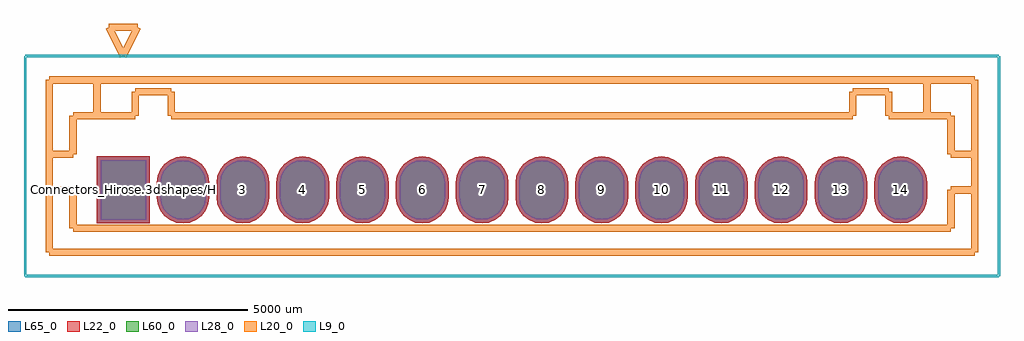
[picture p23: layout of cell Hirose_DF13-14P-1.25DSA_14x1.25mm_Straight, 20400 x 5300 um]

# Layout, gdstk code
import gdstk
lib = gdstk.Library(unit=1e-6, precision=1e-09)
def R(c, l, rs):  # rectangles x0, y0, x1, y1
    for r in rs: c.add(gdstk.rectangle(r[:2], r[2:], *l))
def P(c, l, *ps):  # polygons
    for p in ps: c.add(gdstk.Polygon(p, *l))
L9_0 = (9, 0)
L20_0 = (20, 0)
L22_0 = (22, 0)
L28_0 = (28, 0)
L60_0 = (60, 0)
L65_0 = (65, 0)

hirose_df13_14p_1_25dsa_ = lib.new_cell('Hirose_DF13-14P-1.25DSA_14x1.25mm_Straight')
R(hirose_df13_14p_1_25dsa_, L22_0, [(-550,-700,550,700)])
P(hirose_df13_14p_1_25dsa_, L22_0, [(16250,-700),(16392.35,-681.259),(16525,-626.314),(16638.909,-538.909),(16726.314,-425),(16781.259,-292.35),(16800,-150),(16800,150),(16781.259,292.35),(16726.314,425),(16638.909,538.909),(16525,626.314),(16392.35,681.259),(16250,700),(16107.65,681.259),(15975,626.314),(15861.091,538.909),(15773.686,425),(15718.741,292.35),(15700,150),(15700,-150),(15718.741,-292.35),(15773.686,-425),(15861.091,-538.909),(15975,-626.314),(16107.65,-681.259)],
  [(15000,-700),(15142.35,-681.259),(15275,-626.314),(15388.909,-538.909),(15476.314,-425),(15531.259,-292.35),(15550,-150),(15550,150),(15531.259,292.35),(15476.314,425),(15388.909,538.909),(15275,626.314),(15142.35,681.259),(15000,700),(14857.65,681.259),(14725,626.314),(14611.091,538.909),(14523.686,425),(14468.741,292.35),(14450,150),(14450,-150),(14468.741,-292.35),(14523.686,-425),(14611.091,-538.909),(14725,-626.314),(14857.65,-681.259)],
  [(13750,-700),(13892.35,-681.259),(14025,-626.314),(14138.909,-538.909),(14226.314,-425),(14281.259,-292.35),(14300,-150),(14300,150),(14281.259,292.35),(14226.314,425),(14138.909,538.909),(14025,626.314),(13892.35,681.259),(13750,700),(13607.65,681.259),(13475,626.314),(13361.091,538.909),(13273.686,425),(13218.741,292.35),(13200,150),(13200,-150),(13218.741,-292.35),(13273.686,-425),(13361.091,-538.909),(13475,-626.314),(13607.65,-681.259)],
  [(12500,-700),(12642.35,-681.259),(12775,-626.314),(12888.909,-538.909),(12976.314,-425),(13031.259,-292.35),(13050,-150),(13050,150),(13031.259,292.35),(12976.314,425),(12888.909,538.909),(12775,626.314),(12642.35,681.259),(12500,700),(12357.65,681.259),(12225,626.314),(12111.091,538.909),(12023.686,425),(11968.741,292.35),(11950,150),(11950,-150),(11968.741,-292.35),(12023.686,-425),(12111.091,-538.909),(12225,-626.314),(12357.65,-681.259)],
  [(11250,-700),(11392.35,-681.259),(11525,-626.314),(11638.909,-538.909),(11726.314,-425),(11781.259,-292.35),(11800,-150),(11800,150),(11781.259,292.35),(11726.314,425),(11638.909,538.909),(11525,626.314),(11392.35,681.259),(11250,700),(11107.65,681.259),(10975,626.314),(10861.091,538.909),(10773.686,425),(10718.741,292.35),(10700,150),(10700,-150),(10718.741,-292.35),(10773.686,-425),(10861.091,-538.909),(10975,-626.314),(11107.65,-681.259)],
  [(10000,-700),(10142.35,-681.259),(10275,-626.314),(10388.909,-538.909),(10476.314,-425),(10531.259,-292.35),(10550,-150),(10550,150),(10531.259,292.35),(10476.314,425),(10388.909,538.909),(10275,626.314),(10142.35,681.259),(10000,700),(9857.65,681.259),(9725,626.314),(9611.091,538.909),(9523.686,425),(9468.741,292.35),(9450,150),(9450,-150),(9468.741,-292.35),(9523.686,-425),(9611.091,-538.909),(9725,-626.314),(9857.65,-681.259)],
  [(8750,-700),(8892.35,-681.259),(9025,-626.314),(9138.909,-538.909),(9226.314,-425),(9281.259,-292.35),(9300,-150),(9300,150),(9281.259,292.35),(9226.314,425),(9138.909,538.909),(9025,626.314),(8892.35,681.259),(8750,700),(8607.65,681.259),(8475,626.314),(8361.091,538.909),(8273.686,425),(8218.741,292.35),(8200,150),(8200,-150),(8218.741,-292.35),(8273.686,-425),(8361.091,-538.909),(8475,-626.314),(8607.65,-681.259)],
  [(7500,-700),(7642.35,-681.259),(7775,-626.314),(7888.909,-538.909),(7976.314,-425),(8031.259,-292.35),(8050,-150),(8050,150),(8031.259,292.35),(7976.314,425),(7888.909,538.909),(7775,626.314),(7642.35,681.259),(7500,700),(7357.65,681.259),(7225,626.314),(7111.091,538.909),(7023.686,425),(6968.741,292.35),(6950,150),(6950,-150),(6968.741,-292.35),(7023.686,-425),(7111.091,-538.909),(7225,-626.314),(7357.65,-681.259)],
  [(6250,-700),(6392.35,-681.259),(6525,-626.314),(6638.909,-538.909),(6726.314,-425),(6781.259,-292.35),(6800,-150),(6800,150),(6781.259,292.35),(6726.314,425),(6638.909,538.909),(6525,626.314),(6392.35,681.259),(6250,700),(6107.65,681.259),(5975,626.314),(5861.091,538.909),(5773.686,425),(5718.741,292.35),(5700,150),(5700,-150),(5718.741,-292.35),(5773.686,-425),(5861.091,-538.909),(5975,-626.314),(6107.65,-681.259)],
  [(5000,-700),(5142.35,-681.259),(5275,-626.314),(5388.909,-538.909),(5476.314,-425),(5531.259,-292.35),(5550,-150),(5550,150),(5531.259,292.35),(5476.314,425),(5388.909,538.909),(5275,626.314),(5142.35,681.259),(5000,700),(4857.65,681.259),(4725,626.314),(4611.091,538.909),(4523.686,425),(4468.741,292.35),(4450,150),(4450,-150),(4468.741,-292.35),(4523.686,-425),(4611.091,-538.909),(4725,-626.314),(4857.65,-681.259)],
  [(3750,-700),(3892.35,-681.259),(4025,-626.314),(4138.909,-538.909),(4226.314,-425),(4281.259,-292.35),(4300,-150),(4300,150),(4281.259,292.35),(4226.314,425),(4138.909,538.909),(4025,626.314),(3892.35,681.259),(3750,700),(3607.65,681.259),(3475,626.314),(3361.091,538.909),(3273.686,425),(3218.741,292.35),(3200,150),(3200,-150),(3218.741,-292.35),(3273.686,-425),(3361.091,-538.909),(3475,-626.314),(3607.65,-681.259)],
  [(2500,-700),(2642.35,-681.259),(2775,-626.314),(2888.909,-538.909),(2976.314,-425),(3031.259,-292.35),(3050,-150),(3050,150),(3031.259,292.35),(2976.314,425),(2888.909,538.909),(2775,626.314),(2642.35,681.259),(2500,700),(2357.65,681.259),(2225,626.314),(2111.091,538.909),(2023.686,425),(1968.741,292.35),(1950,150),(1950,-150),(1968.741,-292.35),(2023.686,-425),(2111.091,-538.909),(2225,-626.314),(2357.65,-681.259)],
  [(1250,-700),(1392.35,-681.259),(1525,-626.314),(1638.909,-538.909),(1726.314,-425),(1781.259,-292.35),(1800,-150),(1800,150),(1781.259,292.35),(1726.314,425),(1638.909,538.909),(1525,626.314),(1392.35,681.259),(1250,700),(1107.65,681.259),(975,626.314),(861.091,538.909),(773.686,425),(718.741,292.35),(700,150),(700,-150),(718.741,-292.35),(773.686,-425),(861.091,-538.909),(975,-626.314),(1107.65,-681.259)])
R(hirose_df13_14p_1_25dsa_, L28_0, [(-475,-625,475,625)])
P(hirose_df13_14p_1_25dsa_, L28_0, [(16250,-625),(16372.939,-608.815),(16487.5,-561.362),(16585.876,-485.876),(16661.362,-387.5),(16708.815,-272.939),(16725,-150),(16725,150),(16708.815,272.939),(16661.362,387.5),(16585.876,485.876),(16487.5,561.362),(16372.939,608.815),(16250,625),(16127.061,608.815),(16012.5,561.362),(15914.124,485.876),(15838.638,387.5),(15791.185,272.939),(15775,150),(15775,-150),(15791.185,-272.939),(15838.638,-387.5),(15914.124,-485.876),(16012.5,-561.362),(16127.061,-608.815)],
  [(15000,-625),(15122.939,-608.815),(15237.5,-561.362),(15335.876,-485.876),(15411.362,-387.5),(15458.815,-272.939),(15475,-150),(15475,150),(15458.815,272.939),(15411.362,387.5),(15335.876,485.876),(15237.5,561.362),(15122.939,608.815),(15000,625),(14877.061,608.815),(14762.5,561.362),(14664.124,485.876),(14588.638,387.5),(14541.185,272.939),(14525,150),(14525,-150),(14541.185,-272.939),(14588.638,-387.5),(14664.124,-485.876),(14762.5,-561.362),(14877.061,-608.815)],
  [(13750,-625),(13872.939,-608.815),(13987.5,-561.362),(14085.876,-485.876),(14161.362,-387.5),(14208.815,-272.939),(14225,-150),(14225,150),(14208.815,272.939),(14161.362,387.5),(14085.876,485.876),(13987.5,561.362),(13872.939,608.815),(13750,625),(13627.061,608.815),(13512.5,561.362),(13414.124,485.876),(13338.638,387.5),(13291.185,272.939),(13275,150),(13275,-150),(13291.185,-272.939),(13338.638,-387.5),(13414.124,-485.876),(13512.5,-561.362),(13627.061,-608.815)],
  [(12500,-625),(12622.939,-608.815),(12737.5,-561.362),(12835.876,-485.876),(12911.362,-387.5),(12958.815,-272.939),(12975,-150),(12975,150),(12958.815,272.939),(12911.362,387.5),(12835.876,485.876),(12737.5,561.362),(12622.939,608.815),(12500,625),(12377.061,608.815),(12262.5,561.362),(12164.124,485.876),(12088.638,387.5),(12041.185,272.939),(12025,150),(12025,-150),(12041.185,-272.939),(12088.638,-387.5),(12164.124,-485.876),(12262.5,-561.362),(12377.061,-608.815)],
  [(11250,-625),(11372.939,-608.815),(11487.5,-561.362),(11585.876,-485.876),(11661.362,-387.5),(11708.815,-272.939),(11725,-150),(11725,150),(11708.815,272.939),(11661.362,387.5),(11585.876,485.876),(11487.5,561.362),(11372.939,608.815),(11250,625),(11127.061,608.815),(11012.5,561.362),(10914.124,485.876),(10838.638,387.5),(10791.185,272.939),(10775,150),(10775,-150),(10791.185,-272.939),(10838.638,-387.5),(10914.124,-485.876),(11012.5,-561.362),(11127.061,-608.815)],
  [(10000,-625),(10122.939,-608.815),(10237.5,-561.362),(10335.876,-485.876),(10411.362,-387.5),(10458.815,-272.939),(10475,-150),(10475,150),(10458.815,272.939),(10411.362,387.5),(10335.876,485.876),(10237.5,561.362),(10122.939,608.815),(10000,625),(9877.061,608.815),(9762.5,561.362),(9664.124,485.876),(9588.638,387.5),(9541.185,272.939),(9525,150),(9525,-150),(9541.185,-272.939),(9588.638,-387.5),(9664.124,-485.876),(9762.5,-561.362),(9877.061,-608.815)],
  [(8750,-625),(8872.939,-608.815),(8987.5,-561.362),(9085.876,-485.876),(9161.362,-387.5),(9208.815,-272.939),(9225,-150),(9225,150),(9208.815,272.939),(9161.362,387.5),(9085.876,485.876),(8987.5,561.362),(8872.939,608.815),(8750,625),(8627.061,608.815),(8512.5,561.362),(8414.124,485.876),(8338.638,387.5),(8291.185,272.939),(8275,150),(8275,-150),(8291.185,-272.939),(8338.638,-387.5),(8414.124,-485.876),(8512.5,-561.362),(8627.061,-608.815)],
  [(7500,-625),(7622.939,-608.815),(7737.5,-561.362),(7835.876,-485.876),(7911.362,-387.5),(7958.815,-272.939),(7975,-150),(7975,150),(7958.815,272.939),(7911.362,387.5),(7835.876,485.876),(7737.5,561.362),(7622.939,608.815),(7500,625),(7377.061,608.815),(7262.5,561.362),(7164.124,485.876),(7088.638,387.5),(7041.185,272.939),(7025,150),(7025,-150),(7041.185,-272.939),(7088.638,-387.5),(7164.124,-485.876),(7262.5,-561.362),(7377.061,-608.815)],
  [(6250,-625),(6372.939,-608.815),(6487.5,-561.362),(6585.876,-485.876),(6661.362,-387.5),(6708.815,-272.939),(6725,-150),(6725,150),(6708.815,272.939),(6661.362,387.5),(6585.876,485.876),(6487.5,561.362),(6372.939,608.815),(6250,625),(6127.061,608.815),(6012.5,561.362),(5914.124,485.876),(5838.638,387.5),(5791.185,272.939),(5775,150),(5775,-150),(5791.185,-272.939),(5838.638,-387.5),(5914.124,-485.876),(6012.5,-561.362),(6127.061,-608.815)],
  [(5000,-625),(5122.939,-608.815),(5237.5,-561.362),(5335.876,-485.876),(5411.362,-387.5),(5458.815,-272.939),(5475,-150),(5475,150),(5458.815,272.939),(5411.362,387.5),(5335.876,485.876),(5237.5,561.362),(5122.939,608.815),(5000,625),(4877.061,608.815),(4762.5,561.362),(4664.124,485.876),(4588.638,387.5),(4541.185,272.939),(4525,150),(4525,-150),(4541.185,-272.939),(4588.638,-387.5),(4664.124,-485.876),(4762.5,-561.362),(4877.061,-608.815)],
  [(3750,-625),(3872.939,-608.815),(3987.5,-561.362),(4085.876,-485.876),(4161.362,-387.5),(4208.815,-272.939),(4225,-150),(4225,150),(4208.815,272.939),(4161.362,387.5),(4085.876,485.876),(3987.5,561.362),(3872.939,608.815),(3750,625),(3627.061,608.815),(3512.5,561.362),(3414.124,485.876),(3338.638,387.5),(3291.185,272.939),(3275,150),(3275,-150),(3291.185,-272.939),(3338.638,-387.5),(3414.124,-485.876),(3512.5,-561.362),(3627.061,-608.815)],
  [(2500,-625),(2622.939,-608.815),(2737.5,-561.362),(2835.876,-485.876),(2911.362,-387.5),(2958.815,-272.939),(2975,-150),(2975,150),(2958.815,272.939),(2911.362,387.5),(2835.876,485.876),(2737.5,561.362),(2622.939,608.815),(2500,625),(2377.061,608.815),(2262.5,561.362),(2164.124,485.876),(2088.638,387.5),(2041.185,272.939),(2025,150),(2025,-150),(2041.185,-272.939),(2088.638,-387.5),(2164.124,-485.876),(2262.5,-561.362),(2377.061,-608.815)],
  [(1250,-625),(1372.939,-608.815),(1487.5,-561.362),(1585.876,-485.876),(1661.362,-387.5),(1708.815,-272.939),(1725,-150),(1725,150),(1708.815,272.939),(1661.362,387.5),(1585.876,485.876),(1487.5,561.362),(1372.939,608.815),(1250,625),(1127.061,608.815),(1012.5,561.362),(914.124,485.876),(838.638,387.5),(791.185,272.939),(775,150),(775,-150),(791.185,-272.939),(838.638,-387.5),(914.124,-485.876),(1012.5,-561.362),(1127.061,-608.815)])
R(hirose_df13_14p_1_25dsa_, L60_0, [(-475,-625,475,625)])
P(hirose_df13_14p_1_25dsa_, L60_0, [(16250,-625),(16372.939,-608.815),(16487.5,-561.362),(16585.876,-485.876),(16661.362,-387.5),(16708.815,-272.939),(16725,-150),(16725,150),(16708.815,272.939),(16661.362,387.5),(16585.876,485.876),(16487.5,561.362),(16372.939,608.815),(16250,625),(16127.061,608.815),(16012.5,561.362),(15914.124,485.876),(15838.638,387.5),(15791.185,272.939),(15775,150),(15775,-150),(15791.185,-272.939),(15838.638,-387.5),(15914.124,-485.876),(16012.5,-561.362),(16127.061,-608.815)],
  [(15000,-625),(15122.939,-608.815),(15237.5,-561.362),(15335.876,-485.876),(15411.362,-387.5),(15458.815,-272.939),(15475,-150),(15475,150),(15458.815,272.939),(15411.362,387.5),(15335.876,485.876),(15237.5,561.362),(15122.939,608.815),(15000,625),(14877.061,608.815),(14762.5,561.362),(14664.124,485.876),(14588.638,387.5),(14541.185,272.939),(14525,150),(14525,-150),(14541.185,-272.939),(14588.638,-387.5),(14664.124,-485.876),(14762.5,-561.362),(14877.061,-608.815)],
  [(13750,-625),(13872.939,-608.815),(13987.5,-561.362),(14085.876,-485.876),(14161.362,-387.5),(14208.815,-272.939),(14225,-150),(14225,150),(14208.815,272.939),(14161.362,387.5),(14085.876,485.876),(13987.5,561.362),(13872.939,608.815),(13750,625),(13627.061,608.815),(13512.5,561.362),(13414.124,485.876),(13338.638,387.5),(13291.185,272.939),(13275,150),(13275,-150),(13291.185,-272.939),(13338.638,-387.5),(13414.124,-485.876),(13512.5,-561.362),(13627.061,-608.815)],
  [(12500,-625),(12622.939,-608.815),(12737.5,-561.362),(12835.876,-485.876),(12911.362,-387.5),(12958.815,-272.939),(12975,-150),(12975,150),(12958.815,272.939),(12911.362,387.5),(12835.876,485.876),(12737.5,561.362),(12622.939,608.815),(12500,625),(12377.061,608.815),(12262.5,561.362),(12164.124,485.876),(12088.638,387.5),(12041.185,272.939),(12025,150),(12025,-150),(12041.185,-272.939),(12088.638,-387.5),(12164.124,-485.876),(12262.5,-561.362),(12377.061,-608.815)],
  [(11250,-625),(11372.939,-608.815),(11487.5,-561.362),(11585.876,-485.876),(11661.362,-387.5),(11708.815,-272.939),(11725,-150),(11725,150),(11708.815,272.939),(11661.362,387.5),(11585.876,485.876),(11487.5,561.362),(11372.939,608.815),(11250,625),(11127.061,608.815),(11012.5,561.362),(10914.124,485.876),(10838.638,387.5),(10791.185,272.939),(10775,150),(10775,-150),(10791.185,-272.939),(10838.638,-387.5),(10914.124,-485.876),(11012.5,-561.362),(11127.061,-608.815)],
  [(10000,-625),(10122.939,-608.815),(10237.5,-561.362),(10335.876,-485.876),(10411.362,-387.5),(10458.815,-272.939),(10475,-150),(10475,150),(10458.815,272.939),(10411.362,387.5),(10335.876,485.876),(10237.5,561.362),(10122.939,608.815),(10000,625),(9877.061,608.815),(9762.5,561.362),(9664.124,485.876),(9588.638,387.5),(9541.185,272.939),(9525,150),(9525,-150),(9541.185,-272.939),(9588.638,-387.5),(9664.124,-485.876),(9762.5,-561.362),(9877.061,-608.815)],
  [(8750,-625),(8872.939,-608.815),(8987.5,-561.362),(9085.876,-485.876),(9161.362,-387.5),(9208.815,-272.939),(9225,-150),(9225,150),(9208.815,272.939),(9161.362,387.5),(9085.876,485.876),(8987.5,561.362),(8872.939,608.815),(8750,625),(8627.061,608.815),(8512.5,561.362),(8414.124,485.876),(8338.638,387.5),(8291.185,272.939),(8275,150),(8275,-150),(8291.185,-272.939),(8338.638,-387.5),(8414.124,-485.876),(8512.5,-561.362),(8627.061,-608.815)],
  [(7500,-625),(7622.939,-608.815),(7737.5,-561.362),(7835.876,-485.876),(7911.362,-387.5),(7958.815,-272.939),(7975,-150),(7975,150),(7958.815,272.939),(7911.362,387.5),(7835.876,485.876),(7737.5,561.362),(7622.939,608.815),(7500,625),(7377.061,608.815),(7262.5,561.362),(7164.124,485.876),(7088.638,387.5),(7041.185,272.939),(7025,150),(7025,-150),(7041.185,-272.939),(7088.638,-387.5),(7164.124,-485.876),(7262.5,-561.362),(7377.061,-608.815)],
  [(6250,-625),(6372.939,-608.815),(6487.5,-561.362),(6585.876,-485.876),(6661.362,-387.5),(6708.815,-272.939),(6725,-150),(6725,150),(6708.815,272.939),(6661.362,387.5),(6585.876,485.876),(6487.5,561.362),(6372.939,608.815),(6250,625),(6127.061,608.815),(6012.5,561.362),(5914.124,485.876),(5838.638,387.5),(5791.185,272.939),(5775,150),(5775,-150),(5791.185,-272.939),(5838.638,-387.5),(5914.124,-485.876),(6012.5,-561.362),(6127.061,-608.815)],
  [(5000,-625),(5122.939,-608.815),(5237.5,-561.362),(5335.876,-485.876),(5411.362,-387.5),(5458.815,-272.939),(5475,-150),(5475,150),(5458.815,272.939),(5411.362,387.5),(5335.876,485.876),(5237.5,561.362),(5122.939,608.815),(5000,625),(4877.061,608.815),(4762.5,561.362),(4664.124,485.876),(4588.638,387.5),(4541.185,272.939),(4525,150),(4525,-150),(4541.185,-272.939),(4588.638,-387.5),(4664.124,-485.876),(4762.5,-561.362),(4877.061,-608.815)],
  [(3750,-625),(3872.939,-608.815),(3987.5,-561.362),(4085.876,-485.876),(4161.362,-387.5),(4208.815,-272.939),(4225,-150),(4225,150),(4208.815,272.939),(4161.362,387.5),(4085.876,485.876),(3987.5,561.362),(3872.939,608.815),(3750,625),(3627.061,608.815),(3512.5,561.362),(3414.124,485.876),(3338.638,387.5),(3291.185,272.939),(3275,150),(3275,-150),(3291.185,-272.939),(3338.638,-387.5),(3414.124,-485.876),(3512.5,-561.362),(3627.061,-608.815)],
  [(2500,-625),(2622.939,-608.815),(2737.5,-561.362),(2835.876,-485.876),(2911.362,-387.5),(2958.815,-272.939),(2975,-150),(2975,150),(2958.815,272.939),(2911.362,387.5),(2835.876,485.876),(2737.5,561.362),(2622.939,608.815),(2500,625),(2377.061,608.815),(2262.5,561.362),(2164.124,485.876),(2088.638,387.5),(2041.185,272.939),(2025,150),(2025,-150),(2041.185,-272.939),(2088.638,-387.5),(2164.124,-485.876),(2262.5,-561.362),(2377.061,-608.815)],
  [(1250,-625),(1372.939,-608.815),(1487.5,-561.362),(1585.876,-485.876),(1661.362,-387.5),(1708.815,-272.939),(1725,-150),(1725,150),(1708.815,272.939),(1661.362,387.5),(1585.876,485.876),(1487.5,561.362),(1372.939,608.815),(1250,625),(1127.061,608.815),(1012.5,561.362),(914.124,485.876),(838.638,387.5),(791.185,272.939),(775,150),(775,-150),(791.185,-272.939),(838.638,-387.5),(914.124,-485.876),(1012.5,-561.362),(1127.061,-608.815)])
R(hirose_df13_14p_1_25dsa_, L65_0, [(-550,-700,550,700)])
P(hirose_df13_14p_1_25dsa_, L65_0, [(16250,-700),(16392.35,-681.259),(16525,-626.314),(16638.909,-538.909),(16726.314,-425),(16781.259,-292.35),(16800,-150),(16800,150),(16781.259,292.35),(16726.314,425),(16638.909,538.909),(16525,626.314),(16392.35,681.259),(16250,700),(16107.65,681.259),(15975,626.314),(15861.091,538.909),(15773.686,425),(15718.741,292.35),(15700,150),(15700,-150),(15718.741,-292.35),(15773.686,-425),(15861.091,-538.909),(15975,-626.314),(16107.65,-681.259)],
  [(15000,-700),(15142.35,-681.259),(15275,-626.314),(15388.909,-538.909),(15476.314,-425),(15531.259,-292.35),(15550,-150),(15550,150),(15531.259,292.35),(15476.314,425),(15388.909,538.909),(15275,626.314),(15142.35,681.259),(15000,700),(14857.65,681.259),(14725,626.314),(14611.091,538.909),(14523.686,425),(14468.741,292.35),(14450,150),(14450,-150),(14468.741,-292.35),(14523.686,-425),(14611.091,-538.909),(14725,-626.314),(14857.65,-681.259)],
  [(13750,-700),(13892.35,-681.259),(14025,-626.314),(14138.909,-538.909),(14226.314,-425),(14281.259,-292.35),(14300,-150),(14300,150),(14281.259,292.35),(14226.314,425),(14138.909,538.909),(14025,626.314),(13892.35,681.259),(13750,700),(13607.65,681.259),(13475,626.314),(13361.091,538.909),(13273.686,425),(13218.741,292.35),(13200,150),(13200,-150),(13218.741,-292.35),(13273.686,-425),(13361.091,-538.909),(13475,-626.314),(13607.65,-681.259)],
  [(12500,-700),(12642.35,-681.259),(12775,-626.314),(12888.909,-538.909),(12976.314,-425),(13031.259,-292.35),(13050,-150),(13050,150),(13031.259,292.35),(12976.314,425),(12888.909,538.909),(12775,626.314),(12642.35,681.259),(12500,700),(12357.65,681.259),(12225,626.314),(12111.091,538.909),(12023.686,425),(11968.741,292.35),(11950,150),(11950,-150),(11968.741,-292.35),(12023.686,-425),(12111.091,-538.909),(12225,-626.314),(12357.65,-681.259)],
  [(11250,-700),(11392.35,-681.259),(11525,-626.314),(11638.909,-538.909),(11726.314,-425),(11781.259,-292.35),(11800,-150),(11800,150),(11781.259,292.35),(11726.314,425),(11638.909,538.909),(11525,626.314),(11392.35,681.259),(11250,700),(11107.65,681.259),(10975,626.314),(10861.091,538.909),(10773.686,425),(10718.741,292.35),(10700,150),(10700,-150),(10718.741,-292.35),(10773.686,-425),(10861.091,-538.909),(10975,-626.314),(11107.65,-681.259)],
  [(10000,-700),(10142.35,-681.259),(10275,-626.314),(10388.909,-538.909),(10476.314,-425),(10531.259,-292.35),(10550,-150),(10550,150),(10531.259,292.35),(10476.314,425),(10388.909,538.909),(10275,626.314),(10142.35,681.259),(10000,700),(9857.65,681.259),(9725,626.314),(9611.091,538.909),(9523.686,425),(9468.741,292.35),(9450,150),(9450,-150),(9468.741,-292.35),(9523.686,-425),(9611.091,-538.909),(9725,-626.314),(9857.65,-681.259)],
  [(8750,-700),(8892.35,-681.259),(9025,-626.314),(9138.909,-538.909),(9226.314,-425),(9281.259,-292.35),(9300,-150),(9300,150),(9281.259,292.35),(9226.314,425),(9138.909,538.909),(9025,626.314),(8892.35,681.259),(8750,700),(8607.65,681.259),(8475,626.314),(8361.091,538.909),(8273.686,425),(8218.741,292.35),(8200,150),(8200,-150),(8218.741,-292.35),(8273.686,-425),(8361.091,-538.909),(8475,-626.314),(8607.65,-681.259)],
  [(7500,-700),(7642.35,-681.259),(7775,-626.314),(7888.909,-538.909),(7976.314,-425),(8031.259,-292.35),(8050,-150),(8050,150),(8031.259,292.35),(7976.314,425),(7888.909,538.909),(7775,626.314),(7642.35,681.259),(7500,700),(7357.65,681.259),(7225,626.314),(7111.091,538.909),(7023.686,425),(6968.741,292.35),(6950,150),(6950,-150),(6968.741,-292.35),(7023.686,-425),(7111.091,-538.909),(7225,-626.314),(7357.65,-681.259)],
  [(6250,-700),(6392.35,-681.259),(6525,-626.314),(6638.909,-538.909),(6726.314,-425),(6781.259,-292.35),(6800,-150),(6800,150),(6781.259,292.35),(6726.314,425),(6638.909,538.909),(6525,626.314),(6392.35,681.259),(6250,700),(6107.65,681.259),(5975,626.314),(5861.091,538.909),(5773.686,425),(5718.741,292.35),(5700,150),(5700,-150),(5718.741,-292.35),(5773.686,-425),(5861.091,-538.909),(5975,-626.314),(6107.65,-681.259)],
  [(5000,-700),(5142.35,-681.259),(5275,-626.314),(5388.909,-538.909),(5476.314,-425),(5531.259,-292.35),(5550,-150),(5550,150),(5531.259,292.35),(5476.314,425),(5388.909,538.909),(5275,626.314),(5142.35,681.259),(5000,700),(4857.65,681.259),(4725,626.314),(4611.091,538.909),(4523.686,425),(4468.741,292.35),(4450,150),(4450,-150),(4468.741,-292.35),(4523.686,-425),(4611.091,-538.909),(4725,-626.314),(4857.65,-681.259)],
  [(3750,-700),(3892.35,-681.259),(4025,-626.314),(4138.909,-538.909),(4226.314,-425),(4281.259,-292.35),(4300,-150),(4300,150),(4281.259,292.35),(4226.314,425),(4138.909,538.909),(4025,626.314),(3892.35,681.259),(3750,700),(3607.65,681.259),(3475,626.314),(3361.091,538.909),(3273.686,425),(3218.741,292.35),(3200,150),(3200,-150),(3218.741,-292.35),(3273.686,-425),(3361.091,-538.909),(3475,-626.314),(3607.65,-681.259)],
  [(2500,-700),(2642.35,-681.259),(2775,-626.314),(2888.909,-538.909),(2976.314,-425),(3031.259,-292.35),(3050,-150),(3050,150),(3031.259,292.35),(2976.314,425),(2888.909,538.909),(2775,626.314),(2642.35,681.259),(2500,700),(2357.65,681.259),(2225,626.314),(2111.091,538.909),(2023.686,425),(1968.741,292.35),(1950,150),(1950,-150),(1968.741,-292.35),(2023.686,-425),(2111.091,-538.909),(2225,-626.314),(2357.65,-681.259)],
  [(1250,-700),(1392.35,-681.259),(1525,-626.314),(1638.909,-538.909),(1726.314,-425),(1781.259,-292.35),(1800,-150),(1800,150),(1781.259,292.35),(1726.314,425),(1638.909,538.909),(1525,626.314),(1392.35,681.259),(1250,700),(1107.65,681.259),(975,626.314),(861.091,538.909),(773.686,425),(718.741,292.35),(700,150),(700,-150),(718.741,-292.35),(773.686,-425),(861.091,-538.909),(975,-626.314),(1107.65,-681.259)])
hirose_df13_14p_1_25dsa_.add(gdstk.FlexPath([(18300,2800),(-2050,2800)], 50, ends="flush", simple_path=True, layer=9, datatype=0))  # L9_0
hirose_df13_14p_1_25dsa_.add(gdstk.FlexPath([(18300,-1800),(18300,2800)], 50, ends="flush", simple_path=True, layer=9, datatype=0))  # L9_0
hirose_df13_14p_1_25dsa_.add(gdstk.FlexPath([(-2050,-1800),(18300,-1800)], 50, ends="flush", simple_path=True, layer=9, datatype=0))  # L9_0
hirose_df13_14p_1_25dsa_.add(gdstk.FlexPath([(-2050,2800),(-2050,-1800)], 50, ends="flush", simple_path=True, layer=9, datatype=0))  # L9_0
hirose_df13_14p_1_25dsa_.add(gdstk.FlexPath([(16000,1550),(16800,1550)], 149.998, ends="flush", simple_path=True, layer=20, datatype=0))  # L20_0
hirose_df13_14p_1_25dsa_.add(gdstk.FlexPath([(16000,2050),(16000,1550)], 149.998, ends="flush", simple_path=True, layer=20, datatype=0))  # L20_0
hirose_df13_14p_1_25dsa_.add(gdstk.FlexPath([(15250,2050),(16000,2050)], 149.998, ends="flush", simple_path=True, layer=20, datatype=0))  # L20_0
hirose_df13_14p_1_25dsa_.add(gdstk.FlexPath([(15250,1550),(15250,2050)], 149.998, ends="flush", simple_path=True, layer=20, datatype=0))  # L20_0
hirose_df13_14p_1_25dsa_.add(gdstk.FlexPath([(1000,1550),(15250,1550)], 149.998, ends="flush", simple_path=True, layer=20, datatype=0))  # L20_0
hirose_df13_14p_1_25dsa_.add(gdstk.FlexPath([(1000,2050),(1000,1550)], 149.998, ends="flush", simple_path=True, layer=20, datatype=0))  # L20_0
hirose_df13_14p_1_25dsa_.add(gdstk.FlexPath([(250,2050),(1000,2050)], 149.998, ends="flush", simple_path=True, layer=20, datatype=0))  # L20_0
hirose_df13_14p_1_25dsa_.add(gdstk.FlexPath([(250,1550),(250,2050)], 149.998, ends="flush", simple_path=True, layer=20, datatype=0))  # L20_0
hirose_df13_14p_1_25dsa_.add(gdstk.FlexPath([(-550,1550),(250,1550)], 149.998, ends="flush", simple_path=True, layer=20, datatype=0))  # L20_0
hirose_df13_14p_1_25dsa_.add(gdstk.FlexPath([(16800,1550),(16800,2300)], 149.998, ends="flush", simple_path=True, layer=20, datatype=0))  # L20_0
hirose_df13_14p_1_25dsa_.add(gdstk.FlexPath([(17300,1550),(16800,1550)], 149.998, ends="flush", simple_path=True, layer=20, datatype=0))  # L20_0
hirose_df13_14p_1_25dsa_.add(gdstk.FlexPath([(17300,750),(17300,1550)], 149.998, ends="flush", simple_path=True, layer=20, datatype=0))  # L20_0
hirose_df13_14p_1_25dsa_.add(gdstk.FlexPath([(17800,750),(17300,750)], 149.998, ends="flush", simple_path=True, layer=20, datatype=0))  # L20_0
hirose_df13_14p_1_25dsa_.add(gdstk.FlexPath([(-550,1550),(-550,2300)], 149.998, ends="flush", simple_path=True, layer=20, datatype=0))  # L20_0
hirose_df13_14p_1_25dsa_.add(gdstk.FlexPath([(-1050,1550),(-550,1550)], 149.998, ends="flush", simple_path=True, layer=20, datatype=0))  # L20_0
hirose_df13_14p_1_25dsa_.add(gdstk.FlexPath([(-1050,750),(-1050,1550)], 149.998, ends="flush", simple_path=True, layer=20, datatype=0))  # L20_0
hirose_df13_14p_1_25dsa_.add(gdstk.FlexPath([(-1550,750),(-1050,750)], 149.998, ends="flush", simple_path=True, layer=20, datatype=0))  # L20_0
hirose_df13_14p_1_25dsa_.add(gdstk.FlexPath([(17300,0),(17800,0)], 149.998, ends="flush", simple_path=True, layer=20, datatype=0))  # L20_0
hirose_df13_14p_1_25dsa_.add(gdstk.FlexPath([(17300,-800),(17300,0)], 149.998, ends="flush", simple_path=True, layer=20, datatype=0))  # L20_0
hirose_df13_14p_1_25dsa_.add(gdstk.FlexPath([(-1050,-800),(17300,-800)], 149.998, ends="flush", simple_path=True, layer=20, datatype=0))  # L20_0
hirose_df13_14p_1_25dsa_.add(gdstk.FlexPath([(-1050,0),(-1050,-800)], 149.998, ends="flush", simple_path=True, layer=20, datatype=0))  # L20_0
hirose_df13_14p_1_25dsa_.add(gdstk.FlexPath([(-1550,0),(-1050,0)], 149.998, ends="flush", simple_path=True, layer=20, datatype=0))  # L20_0
hirose_df13_14p_1_25dsa_.add(gdstk.FlexPath([(300,3400),(0,2800)], 149.998, ends="flush", simple_path=True, layer=20, datatype=0))  # L20_0
hirose_df13_14p_1_25dsa_.add(gdstk.FlexPath([(-300,3400),(300,3400)], 149.998, ends="flush", simple_path=True, layer=20, datatype=0))  # L20_0
hirose_df13_14p_1_25dsa_.add(gdstk.FlexPath([(0,2800),(-300,3400)], 149.998, ends="flush", simple_path=True, layer=20, datatype=0))  # L20_0
hirose_df13_14p_1_25dsa_.add(gdstk.FlexPath([(17800,2300),(-1550,2300)], 149.998, ends="flush", simple_path=True, layer=20, datatype=0))  # L20_0
hirose_df13_14p_1_25dsa_.add(gdstk.FlexPath([(17800,-1300),(17800,2300)], 149.998, ends="flush", simple_path=True, layer=20, datatype=0))  # L20_0
hirose_df13_14p_1_25dsa_.add(gdstk.FlexPath([(-1550,-1300),(17800,-1300)], 149.998, ends="flush", simple_path=True, layer=20, datatype=0))  # L20_0
hirose_df13_14p_1_25dsa_.add(gdstk.FlexPath([(-1550,2300),(-1550,-1300)], 149.998, ends="flush", simple_path=True, layer=20, datatype=0))  # L20_0
hirose_df13_14p_1_25dsa_.add(gdstk.Label('Connectors_Hirose.3dshapes/Hirose_DF13-14P-1.25DSA_14x1.25mm_Straight.wrl', (0,0), layer=12, texttype=0))
hirose_df13_14p_1_25dsa_.add(gdstk.Label('14', (16250,0), layer=28, texttype=0))
hirose_df13_14p_1_25dsa_.add(gdstk.Label('13', (15000,0), layer=28, texttype=0))
hirose_df13_14p_1_25dsa_.add(gdstk.Label('12', (13750,0), layer=28, texttype=0))
hirose_df13_14p_1_25dsa_.add(gdstk.Label('11', (12500,0), layer=28, texttype=0))
hirose_df13_14p_1_25dsa_.add(gdstk.Label('10', (11250,0), layer=28, texttype=0))
hirose_df13_14p_1_25dsa_.add(gdstk.Label('9', (10000,0), layer=28, texttype=0))
hirose_df13_14p_1_25dsa_.add(gdstk.Label('8', (8750,0), layer=28, texttype=0))
hirose_df13_14p_1_25dsa_.add(gdstk.Label('7', (7500,0), layer=28, texttype=0))
hirose_df13_14p_1_25dsa_.add(gdstk.Label('6', (6250,0), layer=28, texttype=0))
hirose_df13_14p_1_25dsa_.add(gdstk.Label('5', (5000,0), layer=28, texttype=0))
hirose_df13_14p_1_25dsa_.add(gdstk.Label('4', (3750,0), layer=28, texttype=0))
hirose_df13_14p_1_25dsa_.add(gdstk.Label('3', (2500,0), layer=28, texttype=0))
hirose_df13_14p_1_25dsa_.add(gdstk.Label('2', (1250,0), layer=28, texttype=0))
hirose_df13_14p_1_25dsa_.add(gdstk.Label('1', (0,0), layer=28, texttype=0))
hirose_df13_14p_1_25dsa_.add(gdstk.Label('type', (8125,-2500), layer=9, texttype=0))
hirose_df13_14p_1_25dsa_.add(gdstk.Label('devicename', (8125,4000), layer=9, texttype=0))

lib.write_gds('Hirose_DF13-14P-1.25DSA_14x1.25mm_Straight.gds')
